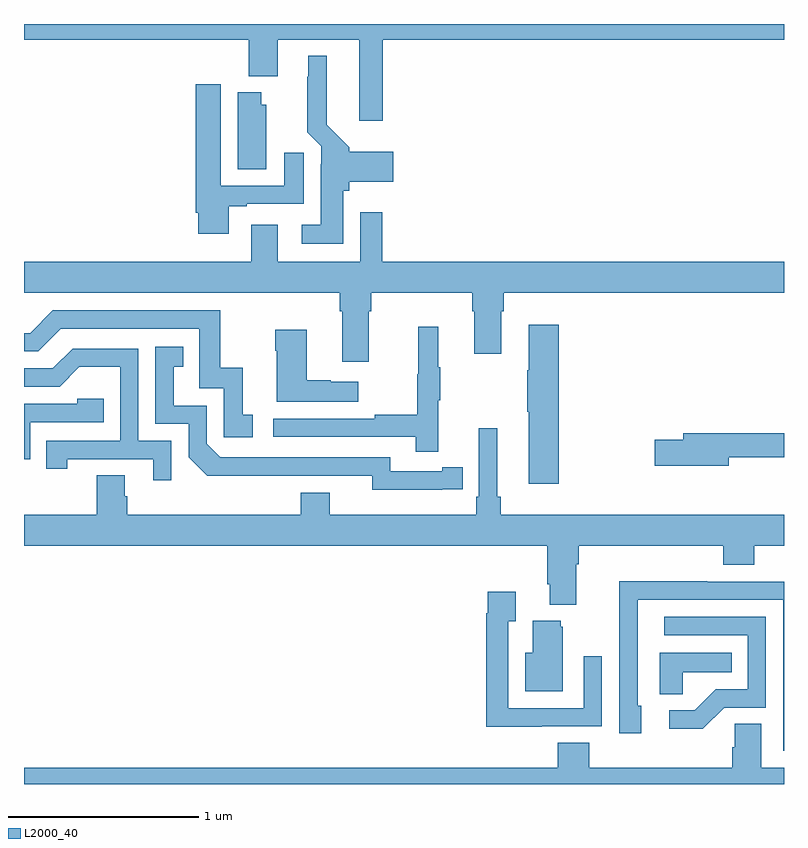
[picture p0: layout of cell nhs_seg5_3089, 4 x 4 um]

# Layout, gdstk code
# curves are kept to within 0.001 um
import gdstk
lib = gdstk.Library(unit=1e-6, precision=1e-09)
def P(c, l, *ps):  # polygons
    for p in ps: c.add(gdstk.Polygon(p, *l))
L2000_40 = (2000, 40)

nhs_seg5_3089 = lib.new_cell('nhs_seg5_3089')
P(nhs_seg5_3089, L2000_40, [(290.888,900.716),(293,900.716),(293,900.799),(289,900.799),(289,900.716),(290.183,900.716),(290.183,900.524),(290.335,900.524),(290.335,900.716),(290.765,900.716),(290.765,900.291),(290.888,900.291)],
  [(290.68,899.922),(290.711,899.922),(290.711,899.969),(290.944,899.969),(290.944,900.127),(290.711,900.127),(290.711,900.15),(290.593,900.268),(290.593,900.631),(290.495,900.631),(290.495,900.521),(290.491,900.521),(290.491,900.23),(290.565,900.156),(290.565,900.062),(290.561,900.062),(290.561,899.743),(290.463,899.743),(290.463,899.642),(290.68,899.642)],
  [(290.077,899.841),(290.173,899.841),(290.173,899.853),(290.473,899.853),(290.473,900.121),(290.369,900.121),(290.369,899.949),(290.035,899.949),(290.035,900.481),(289.904,900.481),(289.904,899.806),(289.916,899.806),(289.916,899.694),(290.077,899.694)],
  [(290.275,900.375),(290.248,900.375),(290.248,900.439),(290.126,900.439),(290.126,900.034),(290.275,900.034)],
  [(290.815,899.288),(290.828,899.288),(290.828,899.384),(291.359,899.384),(291.359,899.288),(291.371,899.288),(291.371,899.064),(291.511,899.064),(291.511,899.288),(291.524,899.288),(291.524,899.384),(293,899.384),(293,899.548),(290.885,899.548),(290.885,899.809),(290.769,899.809),(290.769,899.548),(290.335,899.548),(290.335,899.743),(290.195,899.743),(290.195,899.548),(289,899.548),(289,899.384),(290.663,899.384),(290.663,899.288),(290.675,899.288),(290.675,899.022),(290.815,899.022)],
  [(290.203,898.743),(290.15,898.743),(290.15,898.99),(290.032,898.99),(290.032,899.292),(289.152,899.292),(289.032,899.172),(289,899.172),(289,899.076),(289.074,899.076),(289.194,899.196),(289.923,899.196),(289.923,898.881),(290.052,898.881),(290.052,898.623),(290.203,898.623)],
  [(291.815,899.215),(291.656,899.215),(291.656,898.976),(291.649,898.976),(291.649,898.759),(291.656,898.759),(291.656,898.38),(291.815,898.38)],
  [(291.179,898.819),(291.19,898.819),(291.19,898.993),(291.179,898.993),(291.179,899.206),(291.076,899.206),(291.076,898.956),(291.069,898.956),(291.069,898.742),(290.845,898.742),(290.845,898.722),(290.313,898.722),(290.313,898.626),(291.061,898.626),(291.061,898.548),(291.179,898.548)],
  [(290.758,898.915),(290.615,898.915),(290.615,898.925),(290.488,898.925),(290.488,899.191),(290.323,899.191),(290.323,899.078),(290.33,899.078),(290.33,898.811),(290.758,898.811)],
  [(291.2,898.35),(291.308,898.35),(291.308,898.466),(291.2,898.466),(291.2,898.446),(290.928,898.446),(290.928,898.518),(290.034,898.518),(289.962,898.59),(289.962,898.791),(289.789,898.791),(289.789,898.995),(289.838,898.995),(289.838,899.101),(289.692,899.101),(289.692,898.695),(289.866,898.695),(289.866,898.518),(289.964,898.421),(290.832,898.422),(290.832,898.349)],
  [(289.776,898.605),(289.602,898.605),(289.602,899.091),(289.256,899.091),(289.151,898.986),(289,898.986),(289,898.89),(289.188,898.89),(289.292,898.994),(289.506,898.994),(289.506,898.605),(289.117,898.605),(289.117,898.458),(289.228,898.458),(289.228,898.509),(289.679,898.509),(289.679,898.398),(289.776,898.398)],
  [(289.032,898.704),(289.421,898.704),(289.421,898.827),(289.281,898.827),(289.281,898.8),(289,898.8),(289,898.509),(289.032,898.509)],
  [(291.907,897.956),(291.92,897.956),(291.92,898.052),(292.679,898.052),(292.679,897.953),(292.844,897.953),(292.844,898.052),(293,898.052),(293,898.216),(291.509,898.216),(291.509,898.312),(291.49,898.312),(291.49,898.672),(291.393,898.672),(291.393,898.312),(291.38,898.312),(291.38,898.216),(290.608,898.216),(290.608,898.333),(290.456,898.333),(290.456,898.216),(289.544,898.216),(289.544,898.314),(289.531,898.314),(289.531,898.424),(289.384,898.424),(289.384,898.216),(289,898.216),(289,898.052),(291.755,898.052),(291.755,897.85),(291.767,897.85),(291.767,897.743),(291.907,897.743)],
  [(292.708,898.518),(293,898.518),(293,898.646),(292.469,898.646),(292.469,898.61),(292.32,898.61),(292.32,898.475),(292.708,898.475)],
  [(293,897.864),(292.595,897.864),(292.595,897.866),(292.132,897.866),(292.132,897.559),(292.134,897.559),(292.134,897.066),(292.249,897.066),(292.249,897.21),(292.23,897.21),(292.23,897.768),(292.995,897.768),(292.995,896.973),(293,896.973)],
  [(291.725,897.102),(292.041,897.102),(292.041,897.472),(291.945,897.472),(291.945,897.198),(291.549,897.198),(291.549,897.655),(291.589,897.655),(291.589,897.811),(291.441,897.811),(291.441,897.698),(291.433,897.698),(291.433,897.101),(291.725,897.101)],
  [(292.686,897.201),(292.905,897.201),(292.905,897.678),(292.371,897.678),(292.371,897.582),(292.809,897.582),(292.809,897.297),(292.64,897.297),(292.529,897.186),(292.395,897.186),(292.395,897.089),(292.573,897.089)],
  [(291.835,897.627),(291.824,897.627),(291.824,897.658),(291.677,897.658),(291.677,897.49),(291.638,897.49),(291.638,897.287),(291.835,897.287)],
  [(292.467,897.386),(292.724,897.386),(292.724,897.49),(292.346,897.49),(292.346,897.271),(292.467,897.271)],
  [(293,896.884),(292.879,896.884),(292.879,897.116),(292.74,897.116),(292.74,896.993),(292.727,896.993),(292.727,896.884),(291.974,896.884),(291.974,897.017),(291.809,897.017),(291.809,896.884),(289,896.884),(289,896.799),(293,896.799)])

lib.write_gds('nhs_seg5_3089.gds')
